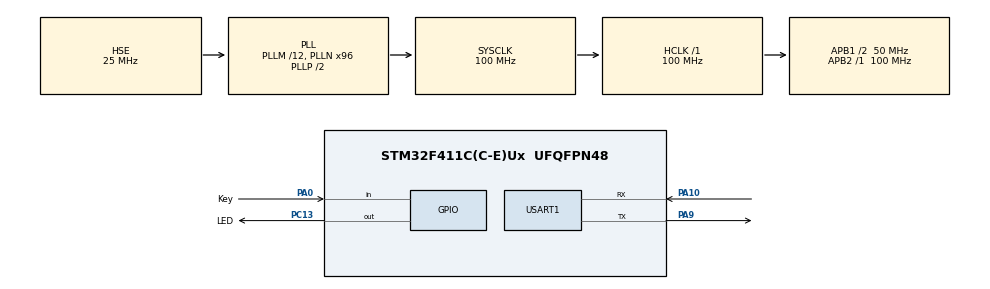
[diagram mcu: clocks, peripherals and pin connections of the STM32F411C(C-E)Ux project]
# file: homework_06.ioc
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FREERTOS.Tasks01=defaultTask,24,128,StartDefaultTask,Default,NULL,Dynamic,NULL,NULL
Mcu.Family=STM32F4
Mcu.Name=STM32F411C(C-E)Ux
Mcu.Package=UFQFPN48
NVIC.PriorityGroup=NVIC_PRIORITYGROUP_4
NVIC.TIM1_UP_TIM10_IRQn=true\:15\:0\:false\:false\:true\:false\:false\:true\:true
NVIC.TimeBase=TIM1_UP_TIM10_IRQn
NVIC.TimeBaseIP=TIM1
PA0-WKUP.GPIO_Label=Key
PA0-WKUP.GPIO_PuPd=GPIO_PULLUP
PA0-WKUP.Signal=GPIO_Input
PA10.Mode=Asynchronous
PA10.Signal=USART1_RX
PA13.Mode=Serial_Wire
PA13.Signal=SYS_JTMS-SWDIO
PA14.Mode=Serial_Wire
PA14.Signal=SYS_JTCK-SWCLK
PA9.Mode=Asynchronous
PA9.Signal=USART1_TX
PC13-ANTI_TAMP.GPIO_Label=LED
PC13-ANTI_TAMP.Signal=GPIO_Output
PC14-OSC32_IN.Mode=LSE-External-Oscillator
PC14-OSC32_IN.Signal=RCC_OSC32_IN
PC15-OSC32_OUT.Mode=LSE-External-Oscillator
PC15-OSC32_OUT.Signal=RCC_OSC32_OUT
PH0\ -\ OSC_IN.Mode=HSE-External-Oscillator
PH0\ -\ OSC_IN.Signal=RCC_OSC_IN
PH1\ -\ OSC_OUT.Mode=HSE-External-Oscillator
PH1\ -\ OSC_OUT.Signal=RCC_OSC_OUT
ProjectManager.HeapSize=0x200
ProjectManager.StackSize=0x400
ProjectManager.TargetToolchain=MDK-ARM V5.32
RCC.48MHZClocksFreq_Value=50000000
RCC.AHBFreq_Value=100000000
RCC.APB1CLKDivider=RCC_HCLK_DIV2
RCC.APB1Freq_Value=50000000
RCC.APB1TimFreq_Value=100000000
RCC.APB2Freq_Value=100000000
RCC.APB2TimFreq_Value=100000000
RCC.CortexFreq_Value=100000000
RCC.HCLKFreq_Value=100000000
RCC.HSE_VALUE=25000000
RCC.HSI_VALUE=16000000
RCC.PLLM=12
RCC.PLLN=96
RCC.PLLSourceVirtual=RCC_PLLSOURCE_HSE
RCC.SYSCLKFreq_VALUE=100000000
RCC.SYSCLKSource=RCC_SYSCLKSOURCE_PLLCLK
RCC.VCOOutputFreq_Value=200000000
USART1.VirtualMode=VM_ASYNC
VP_FREERTOS_VS_CMSIS_V2.Mode=CMSIS_V2
VP_SYS_VS_tim1.Mode=TIM1
board=custom

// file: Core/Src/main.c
/* USER CODE BEGIN Header */
/**
  ******************************************************************************
  * @file           : main.c
  * @brief          : Main program body
  ******************************************************************************
  * @attention
  *
  * Copyright (c) 2026 STMicroelectronics.
  * All rights reserved.
  *
  * This software is licensed under terms that can be found in the LICENSE file
  * in the root directory of this software component.
  * If no LICENSE file comes with this software, it is provided AS-IS.
  *
  ******************************************************************************
  */
/* USER CODE END Header */
#include "main.h"
#include "cmsis_os.h"
#include "queue.h"

/* USER CODE BEGIN Includes */
#include<stdio.h>
#include "bsp_key.h"
#include "bsp_led.h"
/* USER CODE END Includes */

UART_HandleTypeDef huart1;

/* Definitions for defaultTask */
osThreadId_t defaultTaskHandle;
const osThreadAttr_t defaultTask_attributes = {
  .name = "defaultTask",
  .stack_size = 128 * 4,
  .priority = (osPriority_t) osPriorityNormal,
};

void SystemClock_Config(void);
static void MX_GPIO_Init(void);
static void MX_USART1_UART_Init(void);
void StartDefaultTask(void *argument);

/* USER CODE BEGIN PFP */
#ifdef __GNUC__
#define PUTCHAR_PROTOTYPE int _io_putchar(int ch)
#else
#define PUTCHAR_PROTOTYPE int fputc(int ch, FILE *f)
#endif // __GNUC__

/******************************************************************
     *@brief  Retargets the C library printf  function to the USART.
     *@param  None
     *@retval None
 ******************************************************************/
PUTCHAR_PROTOTYPE
{
    HAL_UART_Transmit(&huart1, (uint8_t*)&ch,1,0xFFFF);
    return ch;
}

/* USER CODE END PFP */

int main(void)
{

  /* MCU Configuration--------------------------------------------------------*/

  /* Reset of all peripherals, Initializes the Flash interface and the Systick. */
  HAL_Init();

  /* Configure the system clock */
  SystemClock_Config();

  /* Initialize all configured peripherals */
  MX_GPIO_Init();
  MX_USART1_UART_Init();

  /* Init scheduler */
  osKernelInitialize();

  /* Create the thread(s) */
  /* creation of defaultTask */
  defaultTaskHandle = osThreadNew(StartDefaultTask, NULL, &defaultTask_attributes);

  /* USER CODE BEGIN RTOS_THREADS */
  /* add threads, ... */
  key_TaskHandle = osThreadNew(key_Task_func, NULL, &key_Task_attributes);
  led_TaskHandle = osThreadNew(led_Task_func, NULL, &led_Task_attributes);
  /* USER CODE END RTOS_THREADS */

  /* Start scheduler */
  osKernelStart();

  /* We should never get here as control is now taken by the scheduler */

  /* Infinite loop */
  while (1)
  {

  }
}

void SystemClock_Config(void)
{
  RCC_OscInitTypeDef RCC_OscInitStruct = {0};
  RCC_ClkInitTypeDef RCC_ClkInitStruct = {0};

  /** Configure the main internal regulator output voltage
  */
  __HAL_RCC_PWR_CLK_ENABLE();
  __HAL_PWR_VOLTAGESCALING_CONFIG(PWR_REGULATOR_VOLTAGE_SCALE1);

  /** Initializes the RCC Oscillators according to the specified parameters
  * in the RCC_OscInitTypeDef structure.
  */
  RCC_OscInitStruct.OscillatorType = RCC_OSCILLATORTYPE_HSE;
  RCC_OscInitStruct.HSEState = RCC_HSE_ON;
  RCC_OscInitStruct.PLL.PLLState = RCC_PLL_ON;
  RCC_OscInitStruct.PLL.PLLSource = RCC_PLLSOURCE_HSE;
  RCC_OscInitStruct.PLL.PLLM = 12;
  RCC_OscInitStruct.PLL.PLLN = 96;
  RCC_OscInitStruct.PLL.PLLP = RCC_PLLP_DIV2;
  RCC_OscInitStruct.PLL.PLLQ = 4;
  if (HAL_RCC_OscConfig(&RCC_OscInitStruct) != HAL_OK)
  {
    Error_Handler();
  }

  /** Initializes the CPU, AHB and APB buses clocks
  */
  RCC_ClkInitStruct.ClockType = RCC_CLOCKTYPE_HCLK|RCC_CLOCKTYPE_SYSCLK
                              |RCC_CLOCKTYPE_PCLK1|RCC_CLOCKTYPE_PCLK2;
  RCC_ClkInitStruct.SYSCLKSource = RCC_SYSCLKSOURCE_PLLCLK;
  RCC_ClkInitStruct.AHBCLKDivider = RCC_SYSCLK_DIV1;
  RCC_ClkInitStruct.APB1CLKDivider = RCC_HCLK_DIV2;
  RCC_ClkInitStruct.APB2CLKDivider = RCC_HCLK_DIV1;

  if (HAL_RCC_ClockConfig(&RCC_ClkInitStruct, FLASH_LATENCY_3) != HAL_OK)
  {
    Error_Handler();
  }
}

static void MX_USART1_UART_Init(void)
{

  huart1.Instance = USART1;
  huart1.Init.BaudRate = 115200;
  huart1.Init.WordLength = UART_WORDLENGTH_8B;
  huart1.Init.StopBits = UART_STOPBITS_1;
  huart1.Init.Parity = UART_PARITY_NONE;
  huart1.Init.Mode = UART_MODE_TX_RX;
  huart1.Init.HwFlowCtl = UART_HWCONTROL_NONE;
  huart1.Init.OverSampling = UART_OVERSAMPLING_16;
  if (HAL_UART_Init(&huart1) != HAL_OK)
  {
    Error_Handler();
  }

}

static void MX_GPIO_Init(void)
{
  GPIO_InitTypeDef GPIO_InitStruct = {0};

  /* GPIO Ports Clock Enable */
  __HAL_RCC_GPIOC_CLK_ENABLE();
  __HAL_RCC_GPIOH_CLK_ENABLE();
  __HAL_RCC_GPIOA_CLK_ENABLE();

  /*Configure GPIO pin Output Level */
  HAL_GPIO_WritePin(LED_GPIO_Port, LED_Pin, GPIO_PIN_RESET);

  /*Configure GPIO pin : LED_Pin */
  GPIO_InitStruct.Pin = LED_Pin;
  GPIO_InitStruct.Mode = GPIO_MODE_OUTPUT_PP;
  GPIO_InitStruct.Pull = GPIO_NOPULL;
  GPIO_InitStruct.Speed = GPIO_SPEED_FREQ_LOW;
  HAL_GPIO_Init(LED_GPIO_Port, &GPIO_InitStruct);

  /*Configure GPIO pin : Key_Pin */
  GPIO_InitStruct.Pin = Key_Pin;
  GPIO_InitStruct.Mode = GPIO_MODE_INPUT;
  GPIO_InitStruct.Pull = GPIO_PULLUP;
  HAL_GPIO_Init(Key_GPIO_Port, &GPIO_InitStruct);

}

void StartDefaultTask(void *argument)
{
  /* USER CODE BEGIN 5 */
  /* Infinite loop */
    uint32_t received_value = 0;
    led_operation_t led_ops_value = LED_ON;
  for(;;)
  {
      printf("StartDefaultTask\r\n");
      if (key_queue != 0)
      {
          // Receive a message on the created queue.  Block for 10 ticks if a
          // message is not immediately available.
          if (xQueueReceive(key_queue, &(received_value), (TickType_t)100))
          {
              // pcRxedMessage now points to the struct AMessage variable posted
              // by vATask.
              printf("received queue value = [%d]", received_value);

              //send the operation to LED
              led_ops_value = LED_TOGGLE;
              if (pdTRUE == xQueueSendToFront(led_queue, &led_ops_value, 0)) {
                  printf("led send successfully\r\n");
              }
          }
      }
      osDelay(100);
  }
  /* USER CODE END 5 */
}

void HAL_TIM_PeriodElapsedCallback(TIM_HandleTypeDef *htim)
{
  if (htim->Instance == TIM1) {
    HAL_IncTick();
  }
}

void Error_Handler(void)
{
  __disable_irq();
  while (1)
  {
  }
}
